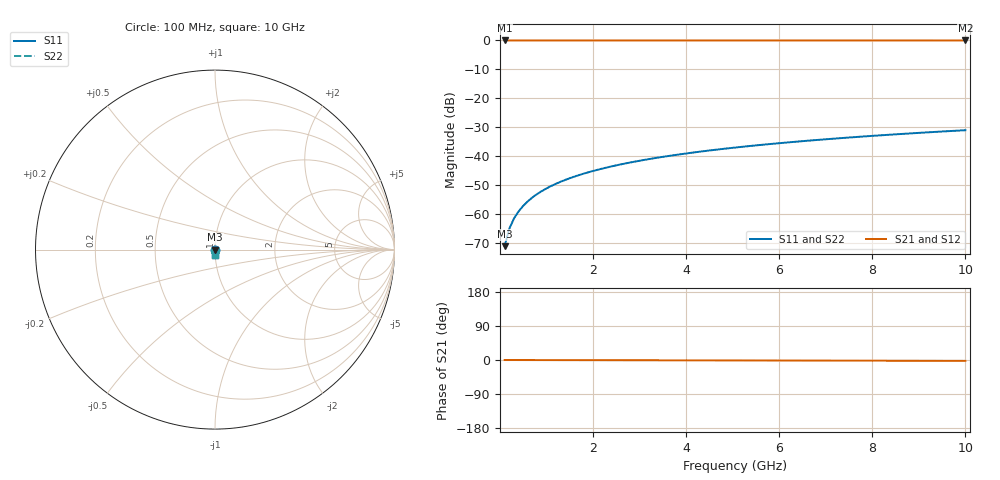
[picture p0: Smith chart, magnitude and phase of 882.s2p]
# Hz S RI R 50.00
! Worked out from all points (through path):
!   100 points, 100 MHz to 10 GHz, reference 50 ohm
!   highest |S21| = 0.00 dB at 100 MHz (marker M1); lowest = 0.0 dB at 10 GHz (marker M2)
!   lowest |S11| = -71.2 dB at 100 MHz (marker M3), VSWR 1.00, Z = 50 - j0.0275 ohm
!   |S11| at or under -10 dB: start of sweep to end of sweep
!   |S22| runs from -71.2 to -31.1 dB; largest |S21 - S12| = 0
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1e8  1.5e-05 -0.000275  1 -0.00039  1 -0.00039  1.5e-05 -0.000275
2e8  1.44e-05 -0.000549  1 -0.000781  1 -0.000781  1.44e-05 -0.000549
3e8  1.36e-05 -0.000824  1 -0.00117  1 -0.00117  1.36e-05 -0.000824
4e8  1.26e-05 -0.0011  1 -0.00156  1 -0.00156  1.26e-05 -0.0011
5e8  1.14e-05 -0.00137  1 -0.00195  1 -0.00195  1.14e-05 -0.00137
6e8  9.94e-06 -0.00165  1 -0.00234  1 -0.00234  9.94e-06 -0.00165
7e8  8.26e-06 -0.00192  1 -0.00273  1 -0.00273  8.26e-06 -0.00192
8e8  6.37e-06 -0.0022  1 -0.00313  1 -0.00313  6.37e-06 -0.0022
9e8  4.26e-06 -0.00247  1 -0.00352  1 -0.00352  4.26e-06 -0.00247
1.1e9  -6.15e-07 -0.00302  1 -0.0043  1 -0.0043  -6.15e-07 -0.00302
1.4e9  -9.57e-06 -0.00385  1 -0.00547  1 -0.00547  -9.57e-06 -0.00385
1.8e9  -2.46e-05 -0.00495  0.9999 -0.00704  0.9999 -0.00704  -2.46e-05 -0.00495
2.1e9  -3.81e-05 -0.00578  0.9999 -0.00822  0.9999 -0.00822  -3.81e-05 -0.00578
2.5e9  -5.92e-05 -0.00689  0.9999 -0.00979  0.9999 -0.00979  -5.92e-05 -0.00689
2.9e9  -8.39e-05 -0.008  0.9999 -0.0114  0.9999 -0.0114  -8.39e-05 -0.008
3.4e9  -0.00012 -0.00939  0.9998 -0.0133  0.9998 -0.0133  -0.00012 -0.00939
4.2e9  -0.000189 -0.0116  0.9998 -0.0165  0.9998 -0.0165  -0.000189 -0.0116
5.1e9  -0.000284 -0.0141  0.9997 -0.0201  0.9997 -0.0201  -0.000284 -0.0141
5.9e9  -0.000384 -0.0164  0.9996 -0.0233  0.9996 -0.0233  -0.000384 -0.0164
6.7e9  -0.000498 -0.0186  0.9994 -0.0265  0.9994 -0.0265  -0.000498 -0.0186
8.4e9  -0.000791 -0.0234  0.9991 -0.0333  0.9991 -0.0333  -0.000791 -0.0234
1e10  -0.00113 -0.0279  0.9988 -0.0398  0.9988 -0.0398  -0.00113 -0.0279
